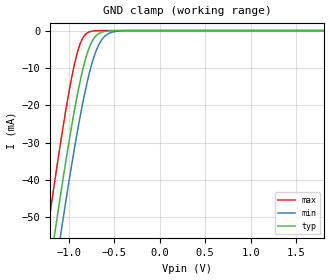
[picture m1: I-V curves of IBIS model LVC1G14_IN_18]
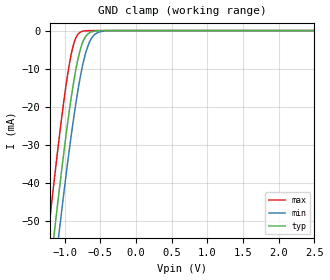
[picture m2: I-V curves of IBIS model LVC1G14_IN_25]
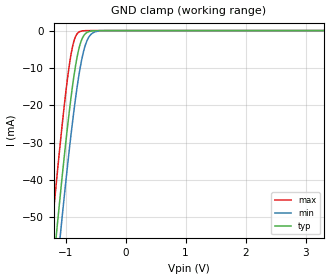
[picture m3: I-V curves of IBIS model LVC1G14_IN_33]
| TEXAS INSTRUMENTS INCORPORATED
| Standard Linear and Logic Group
| IBIS Model of SN74LVC1G14
| SINGLE SCHMITT-TRIGGER INVERTER
| This file contains package information for the following:
|  SOT 5-pin (DBV) package as [Component] LVC1G14_DBV
|  SOT 5-pin (DCK) package as [Component] LVC1G14_DCK
|  DSBGA 5-pin (YEA_YZA) package as [Component] LVC1G14_YEA_YZA
|  NanoStar WCSP 5-pin (YEP) package as [Component] LVC1G14_YEP
|  NanoFree WCSP 5-pin (YZP) package as [Component] LVC1G14_YZP
|  DSBGA 4-pin (YZV) package as [Component] LVC1G14_YZV
|  SON 5-pin (DPW) package as [Component] LVC1G14_DPW
| This device can be powered at the following Vccs:
|  1.8 volt Vcc
|  2.5 volt Vcc
|  3.3 volt Vcc
|  5 volt Vcc
| This file provides unique models under the [Model Selector] for each Vcc.
| For operation at a specific Vcc, select the appropriate model after each
| [Model Selector] keyword.
[IBIS Ver]   4.1
[Comment char]  |_char
[File Name]   sn74lvc1g14.ibs
[File Rev]   1.3 | d_die
[Date]   June 26, 2017
[Source]   Data created from TI-SPICE simulations at TI-SLL.
   Texas Instruments Incorporated.
   12500 TI Blvd
   Dallas, TX -75243
   For Support e-mail: odt-pfmodeling@list.ti.com
[Notes]   The following is an IBIS list for the AUP1G79.
   - FILE REV HISTORY
   - 1.1 Release IBIS file on 05/06/04
   - 1.2 YZP package added on 12/14/05
   - 1.3 DPW package added on 6/26/17
   - Power clamp data deleted as there is no power-clamp diode.
   - Non-monotonic data in pullup due to special output circuit.
[Disclaimer]  This model is designed as an aid for customers of Texas Instruments
 TI and its licensors and suppliers make no warranties, either expressed
 or implied, with respect to this  model, including the warranties of
 merchantability or fitness for a particular purpose.
 The model is provided solely on an "as is" basis. The entire risk as to
 its quality and performance is with the customer.
[Copyright] (C)Copyright 2017 Texas Instruments Incorporated.
   All rights reserved.
| Component LVC1G14_DBV 5-pin SOT
[Component]   LVC1G14_DBV
[Manufacturer]   Texas Instruments, Inc.
[Package]
|   typ   min   max
R_pkg   2.500e-02   2.100e-02   2.900e-02
L_pkg   1.529e-09   1.312e-09   1.906e-09
C_pkg   1.560e-13   1.100e-13   2.400e-13
[Pin]   signal_name   model_name   R_pin   L_pin   C_pin
1   NC   NC   2.100e-02   1.511e-09   1.440e-13
2   A   LVC1G14_IN   2.300e-02   1.312e-09   1.380e-13
3   GND   GND   2.900e-02   1.906e-09   2.400e-13
4   Y   LVC1G14_OUT   2.600e-02   1.541e-09   1.500e-13
5   VCC   POWER   2.500e-02   1.374e-09   1.100e-13
| Component LVC1G14_DCK 5-pin SOT
[Component]   LVC1G14_DCK
[Manufacturer]   Texas Instruments, Inc.
[Package]
|   typ   min   max
R_pkg   2.000e-02   1.700e-02   2.500e-02
L_pkg   9.980e-10   8.810e-10   1.069e-09
C_pkg   1.460e-13   1.180e-13   2.050e-13
[Pin]   signal_name   model_name   R_pin   L_pin   C_pin
1   NC   NC   1.900e-02   1.069e-09   1.620e-13
2   A   LVC1G14_IN   1.800e-02   8.810e-10   1.210e-13
3   GND   GND   1.700e-02   1.031e-09   2.050e-13
4   Y   LVC1G14_OUT   2.000e-02   9.600e-10   1.240e-13
5   VCC   POWER   2.500e-02   1.049e-09   1.180e-13
| Component LVC1G14_YEA_YZA 5-pin DSBGA
[Component]   LVC1G14_YEA_YZA
[Manufacturer]   Texas Instruments, Inc.
[Package]
|   typ   min   max
R_pkg   1.000e-03   1.000e-03   1.000e-03
L_pkg   2.100e-11   2.100e-11   2.100e-11
C_pkg   4.600e-14   4.500e-14   4.700e-14
[Pin]   signal_name   model_name   R_pin   L_pin   C_pin
1   NC   NC   1.000e-03   2.100e-11   4.600e-14
2   A   LVC1G14_IN   1.000e-03   2.100e-11   4.700e-14
3   GND   GND   1.000e-03   2.100e-11   4.600e-14
4   Y   LVC1G14_OUT   1.000e-03   2.100e-11   4.500e-14
5   VCC   POWER   1.000e-03   2.100e-11   4.500e-14
| Component LVC1G14_YEP 5-pin NanoStar WCSP
[Component]   LVC1G14_YEP
[Manufacturer]   Texas Instruments, Inc.
[Package]
|   typ   min   max
R_pkg   0.001   0.001   0.001
L_pkg   0.021nH   0.021nH   0.021nH
C_pkg   0.046pF   0.045pF   0.047pF
[Pin]   signal_name   model_name   R_pin   L_pin   C_pin
1   NC   NC   0.001   0.021nH   0.046pF
2   A   LVC1G14_IN   0.001   0.021nH   0.047pF
3   GND   GND   0.001   0.021nH   0.046pF
4   Y   LVC1G14_OUT   0.001   0.021nH   0.045pF
5   VCC   POWER   0.001   0.021nH   0.045pF
| Component LVC1G14_YZP 5-pin NanoStar WCSP
[Component]   LVC1G14_YZP
[Manufacturer]   Texas Instruments, Inc.
[Package]
|   typ   min   max
R_pkg   0.001   0.001   0.001
L_pkg   0.021nH   0.021nH   0.021nH
C_pkg   0.046pF   0.045pF   0.047pF
[Pin]   signal_name   model_name   R_pin   L_pin   C_pin
1   NC   NC   0.001   0.021nH   0.046pF
2   A   LVC1G14_IN   0.001   0.021nH   0.047pF
3   GND   GND   0.001   0.021nH   0.046pF
4   Y   LVC1G14_OUT   0.001   0.021nH   0.045pF
5   VCC   POWER   0.001   0.021nH   0.045pF
| Component LVC1G14_YZV 4-pin DSBGA
[Component]   LVC1G14_YZV
[Manufacturer]   Texas Instruments, Inc.
[Package]
|   typ   min   max
R_pkg   1.000e-03   1.000e-03   1.000e-03
L_pkg   2.600e-11   2.600e-11   2.600e-11
C_pkg   1.400e-14   1.400e-14   1.400e-14
[Pin]   signal_name   model_name   R_pin   L_pin   C_pin
1   A   LVC1G14_IN   1.000e-03   2.600e-11   1.400e-14
2   GND   GND   1.000e-03   2.600e-11   1.400e-14
3   Y   LVC1G14_OUT   1.000e-03   2.600e-11   1.400e-14
4   VCC   POWER   1.000e-03   2.600e-11   1.400e-14
| Component LVC1G14_DPW 5-pin X2SON
[Component]   LVC1G14_DPW
[Manufacturer]   Texas Instruments, Inc.
[Package]
|   typ   min   max
R_pkg   0.0364   0.0010   0.0518
L_pkg   0.2978n   0.0346n   0.4435n
C_pkg   0.0978p   0.0741p   0.1133p
[Pin]   signal_name   model_name   R_pin   L_pin   C_pin
1   D   LVC1G14_IN   0.04116   0.30011n   0.10160p
2   CLK   LVC1G14_IN   0.05181   0.44351n   0.11332p
3   GND   GND   0.00103   0.03456n   0.07412p
4   Q   LVC1G14_OUT   0.04142   0.34311n   0.10148p
5   VCC   POWER   0.04662   0.36767n   0.09844p
| Model LVC1G14_IN
[Model Selector]   LVC1G14_IN
LVC1G14_IN_18   1.8 volt Vcc
LVC1G14_IN_25   2.5 volt Vcc
LVC1G14_IN_33   3.3 volt Vcc
LVC1G14_IN_50   5 volt Vcc
| Model LVC1G14_OUT
[Model Selector]   LVC1G14_OUT
LVC1G14_OUT_18   1.8 volt Vcc
LVC1G14_OUT_25   2.5 volt Vcc
LVC1G14_OUT_33   3.3 volt Vcc
LVC1G14_OUT_50   5 volt Vcc
| Models and submodels in the file (8): LVC1G14_IN_18 (Input), LVC1G14_IN_25 (Input), LVC1G14_IN_33 (Input), LVC1G14_IN_50 (Input), LVC1G14_OUT_18 (Output), LVC1G14_OUT_25 (Output), LVC1G14_OUT_33 (Output), LVC1G14_OUT_50 (Output)
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[Model]   LVC1G14_IN_18
Model_type  Input
Vinl=0.62
Vinh=0.79
| variable   typ   min   max
C_comp   1.56pF   1.22pF   1.89pF
[Temperature Range]   40   100   -40
| Ambient temperature   25   85   -40
[Voltage range]   1.8   1.65   1.95
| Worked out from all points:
|   GND clamp passes 1 mA (typ) near -0.68 V on its own axis
[GND Clamp]
| LVC1G14_IN_18
|   Voltage   I(typ)   I(min)   I(max)
-5.5V     -872.3mA   -880mA     -863mA
-1.235V   -68.47mA   -79.32mA   -54.53mA
-1.155V   -55.02mA   -65.9mA    -41.02mA
-1.09V    -44.44mA   -55.28mA   -30.51mA
-1.07V    -41.27mA   -52.08mA   -27.39mA
-955mV    -24.08mA   -34.45mA   -11.33mA
-865mV    -12.71mA   -22.05mA   -3.093mA
-745mV    -3.048mA   -8.978mA   -175.9uA
-670mV    -836.3uA   -3.901mA   -23.18uA
-590mV    -176.2uA   -1.257mA   -2.616uA
-340mV    -1.112uA   -19.62uA   -2.839nA
1.8V      1.111nA    59.61nA    3.29pA
[Model]   LVC1G14_IN_25
Model_type  Input
Vinl=0.87
Vinh=1.11
| variable   typ   min   max
C_comp   1.72pF   1.26pF   2.13pF
[Temperature Range]   40   100   -40
| Ambient temperature   25   85   -40
[Voltage range]   2.5   2.3   2.7
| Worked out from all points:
|   GND clamp passes 1 mA (typ) near -0.68 V on its own axis
[GND Clamp]
| LVC1G14_IN_25
|   Voltage   I(typ)   I(min)   I(max)
-5.5V     -872.3mA   -880mA     -863mA
-1.23V    -67.62mA   -78.47mA   -53.67mA
-1.155V   -55.02mA   -65.9mA    -41.02mA
-1.13V    -50.91mA   -61.78mA   -36.92mA
-1.085V   -43.65mA   -54.48mA   -29.72mA
-1.065V   -40.48mA   -51.28mA   -26.62mA
-950mV    -23.39mA   -33.72mA   -10.74mA
-860mV    -12.16mA   -21.41mA   -2.808mA
-785mV    -5.383mA   -12.75mA   -501uA
-715mV    -1.873mA   -6.62mA    -78.61uA
-575mV    -130.5uA   -995.5uA   -1.737uA
2.5V      1.112nA    59.61nA    4.652pA
[Model]   LVC1G14_IN_33
Model_type  Input
Vinl=1.14
Vinh=1.5
| variable   typ   min   max
C_comp   1.81pF   1.57pF   2.26pF
[Temperature Range]   40   100   -40
| Ambient temperature   25   85   -40
[Voltage range]   3.3   3   3.6
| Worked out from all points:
|   GND clamp passes 1 mA (typ) near -0.68 V on its own axis
[GND Clamp]
| LVC1G14_IN_33
|   Voltage   I(typ)   I(min)   I(max)
-5.5V     -872.3mA   -880mA     -863mA
-1.235V   -68.47mA   -79.32mA   -54.53mA
-1.155V   -55.02mA   -65.9mA    -41.02mA
-1.13V    -50.91mA   -61.78mA   -36.92mA
-1.085V   -43.65mA   -54.48mA   -29.72mA
-960mV    -24.78mA   -35.18mA   -11.94mA
-865mV    -12.71mA   -22.05mA   -3.093mA
-790mV    -5.74mA    -13.27mA   -568.9uA
-715mV    -1.873mA   -6.62mA    -78.61uA
-645mV    -520uA     -2.804mA   -11.73uA
-565mV    -106.8uA   -850.2uA   -1.322uA
3.3V      1.114nA    59.61nA    6.193pA
